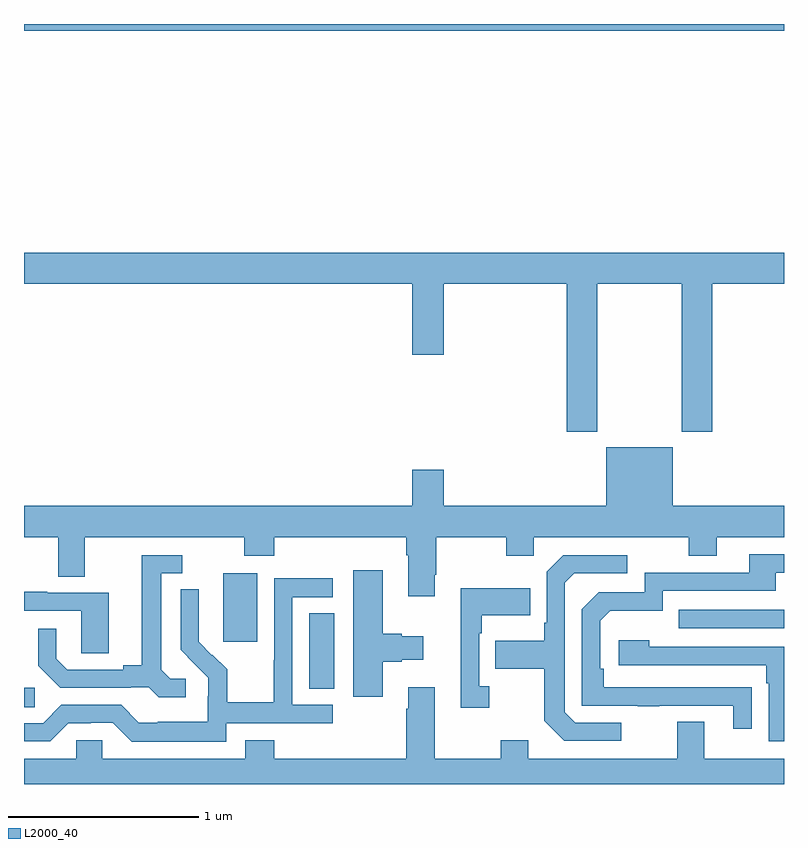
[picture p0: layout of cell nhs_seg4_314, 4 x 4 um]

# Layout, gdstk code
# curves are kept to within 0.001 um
import gdstk
lib = gdstk.Library(unit=1e-6, precision=1e-09)
def R(c, l, rs):  # rectangles x0, y0, x1, y1
    for r in rs: c.add(gdstk.rectangle(r[:2], r[2:], *l))
def P(c, l, *ps):  # polygons
    for p in ps: c.add(gdstk.Polygon(p, *l))
L2000_40 = (2000, 40)

nhs_seg4_314 = lib.new_cell('nhs_seg4_314')
R(nhs_seg4_314, L2000_40, [(127,749.305,127.057,749.406), (128.501,749.401,128.632,749.798), (128.048,749.649,128.227,750.01), (130.447,749.721,131,749.817), (127,752.864,131,752.9)])
P(nhs_seg4_314, L2000_40, [(130.017,751.532),(130.462,751.532),(130.462,750.753),(130.622,750.753),(130.622,751.532),(131,751.532),(131,751.696),(127,751.696),(127,751.532),(129.044,751.532),(129.044,751.158),(129.208,751.158),(129.208,751.532),(129.857,751.532),(129.857,750.753),(130.017,750.753)],
  [(129.163,750.001),(129.171,750.001),(129.171,750.2),(129.538,750.2),(129.538,750.101),(129.684,750.101),(129.684,750.2),(130.498,750.2),(130.498,750.101),(130.645,750.101),(130.645,750.2),(131,750.2),(131,750.364),(130.414,750.364),(130.414,750.673),(130.064,750.673),(130.064,750.364),(129.208,750.364),(129.208,750.553),(129.044,750.553),(129.044,750.364),(127,750.364),(127,750.2),(127.181,750.2),(127.181,749.992),(127.321,749.992),(127.321,750.2),(128.158,750.2),(128.158,750.101),(128.318,750.101),(128.318,750.2),(129.011,750.2),(129.011,750.104),(129.023,750.104),(129.023,749.889),(129.163,749.889)],
  [(130.829,749.408),(130.052,749.409),(130.052,749.506),(130.032,749.506),(130.032,749.76),(130.085,749.813),(130.362,749.813),(130.362,749.916),(130.957,749.916),(130.957,750.012),(131,750.012),(131,750.108),(130.817,750.108),(130.817,750.012),(130.266,750.012),(130.266,749.91),(130.026,749.91),(129.936,749.82),(129.936,749.313),(130.231,749.313),(130.231,749.308),(130.343,749.308),(130.343,749.313),(130.733,749.313),(130.733,749.19),(130.829,749.19)],
  [(127.852,749.454),(127.77,749.454),(127.723,749.501),(127.723,750.009),(127.834,750.009),(127.834,750.105),(127.619,750.105),(127.619,749.525),(127.523,749.525),(127.523,749.502),(127.228,749.502),(127.171,749.559),(127.171,749.716),(127.074,749.716),(127.074,749.522),(127.19,749.406),(127.562,749.406),(127.562,749.409),(127.656,749.409),(127.708,749.357),(127.852,749.357)],
  [(130.144,749.223),(129.9,749.223),(129.846,749.277),(129.846,749.958),(129.897,750.009),(130.174,750.009),(130.174,750.105),(129.837,750.105),(129.75,750.018),(129.75,749.749),(129.738,749.749),(129.738,749.653),(129.481,749.653),(129.481,749.506),(129.738,749.506),(129.738,749.233),(129.843,749.127),(130.144,749.127)],
  [(128.887,749.543),(128.987,749.543),(128.987,749.555),(129.102,749.555),(129.102,749.677),(128.987,749.677),(128.987,749.69),(128.887,749.69),(128.887,750.025),(128.732,750.025),(128.732,749.358),(128.887,749.358)],
  [(128.064,749.22),(128.626,749.22),(128.626,749.316),(128.412,749.316),(128.412,749.883),(128.626,749.883),(128.626,749.982),(128.316,749.982),(128.316,749.552),(128.314,749.552),(128.314,749.329),(128.069,749.329),(128.069,749.503),(127.992,749.58),(127.989,749.577),(127.919,749.648),(127.92,749.924),(127.824,749.924),(127.824,749.606),(127.97,749.458),(127.97,749.361),(127.968,749.361),(127.968,749.227),(127.705,749.227),(127.705,749.223),(127.605,749.223),(127.512,749.316),(127.197,749.316),(127.101,749.22),(127,749.22),(127,749.124),(127.137,749.124),(127.233,749.22),(127.352,749.22),(127.352,749.223),(127.467,749.223),(127.567,749.123),(128.064,749.123)],
  [(129.448,749.414),(129.396,749.414),(129.396,749.693),(129.409,749.693),(129.409,749.789),(129.665,749.789),(129.665,749.929),(129.299,749.929),(129.299,749.301),(129.448,749.301)],
  [(127.447,749.907),(127.123,749.907),(127.123,749.911),(127,749.911),(127,749.811),(127.302,749.811),(127.302,749.587),(127.447,749.587)],
  [(131,749.622),(130.292,749.622),(130.292,749.656),(130.131,749.656),(130.131,749.526),(130.907,749.526),(130.907,749.429),(130.92,749.429),(130.92,749.124),(131,749.124)],
  [(131,749.032),(130.579,749.032),(130.579,749.227),(130.439,749.227),(130.439,749.032),(129.655,749.032),(129.655,749.131),(129.508,749.131),(129.508,749.032),(129.163,749.032),(129.163,749.41),(129.023,749.41),(129.023,749.297),(129.011,749.297),(129.011,749.032),(128.318,749.032),(128.318,749.131),(128.165,749.131),(128.165,749.032),(127.413,749.032),(127.413,749.13),(127.275,749.13),(127.275,749.032),(127,749.032),(127,748.9),(131,748.9)])

lib.write_gds('nhs_seg4_314.gds')
